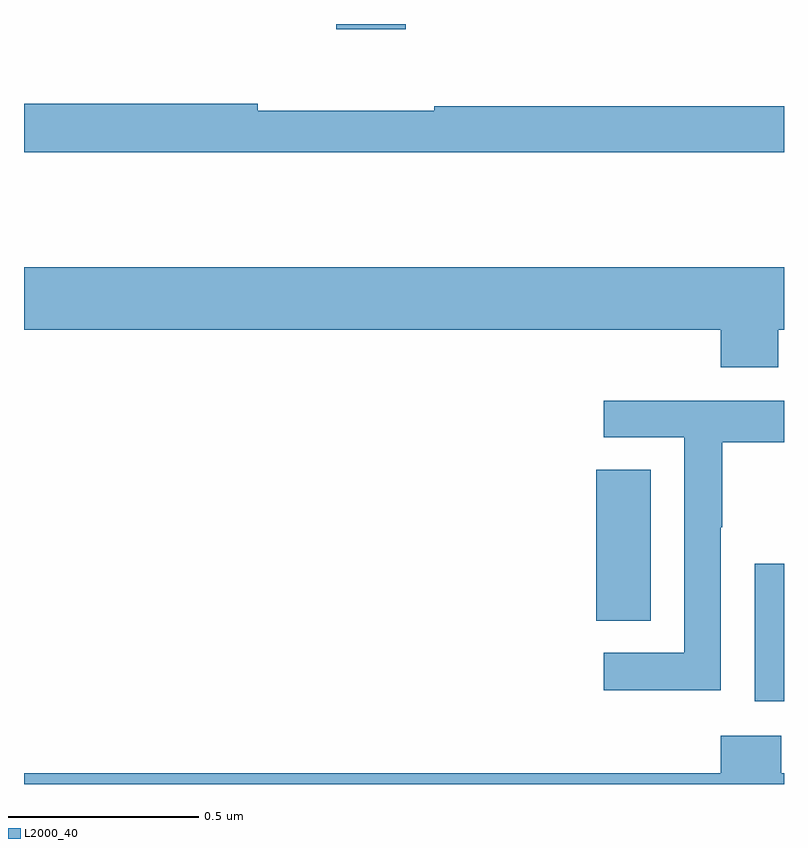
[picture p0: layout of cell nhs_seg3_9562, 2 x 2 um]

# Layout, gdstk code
import gdstk
lib = gdstk.Library(unit=1e-6, precision=1e-09)
def R(c, l, rs):  # rectangles x0, y0, x1, y1
    for r in rs: c.add(gdstk.rectangle(r[:2], r[2:], *l))
def P(c, l, *ps):  # polygons
    for p in ps: c.add(gdstk.Polygon(p, *l))
L2000_40 = (2000, 40)

nhs_seg3_9562 = lib.new_cell('nhs_seg3_9562')
R(nhs_seg3_9562, L2000_40, [(231.923,686.618,232,686.979), (231.506,686.83,231.649,687.227), (230.822,688.386,231.005,688.4)])
P(nhs_seg3_9562, L2000_40, [(232,688.183),(231.08,688.183),(231.08,688.172),(230.615,688.172),(230.615,688.19),(230,688.19),(230,688.062),(232,688.062)],
  [(231.985,687.596),(232,687.596),(232,687.76),(230,687.76),(230,687.596),(231.833,687.596),(231.833,687.497),(231.985,687.497)],
  [(231.834,687.076),(231.837,687.076),(231.837,687.3),(232,687.3),(232,687.408),(231.525,687.408),(231.525,687.312),(231.738,687.312),(231.738,686.745),(231.525,686.745),(231.525,686.647),(231.834,686.647)],
  [(232,686.428),(231.993,686.428),(231.993,686.527),(231.833,686.527),(231.833,686.428),(230,686.428),(230,686.4),(232,686.4)])

lib.write_gds('nhs_seg3_9562.gds')
